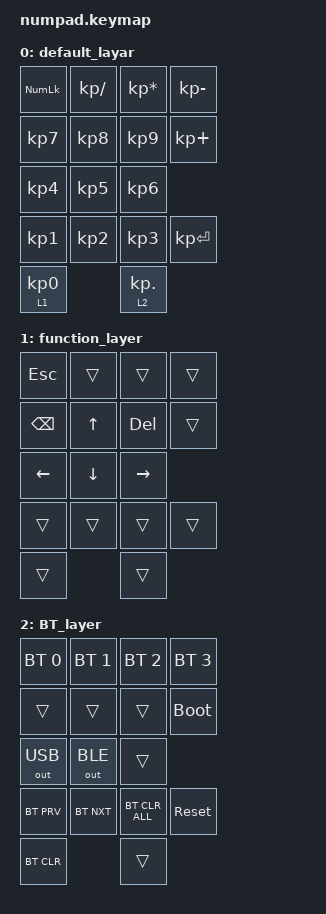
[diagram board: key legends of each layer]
#include <behaviors.dtsi>
#include <dt-bindings/zmk/keys.h>
#include <dt-bindings/zmk/bt.h>
#include <dt-bindings/zmk/outputs.h>

&lt {
  quick-tap-ms = <1000>;
};

        // ┌───┬───┬───┬───┐
        // │NUM│ / │ * │ - │
        // ├───┼───┼───┼───┤
        // │ 7 │ 8 │ 9 │ + │
        // ├───┼───┼───┤   │
        // │ 4 │ 5 │ 6 │   │
        // ├───┼───┼───┼───┤
        // │ 1 │ 2 │ 3 │ENT│
        // ├───┴───┼───┤   │
        // │ 0     │ . │   │
        // └───────┴───┴───┘
        
        // ┌───┬───┬───┬───┐
        // │Esc│   │   │   │
        // ├───┼───┼───┼───┤
        // │BS │ ↑ │Del│   │
        // ├───┼───┼───┤   │
        // │ ← │ ↓ │ → │   │
        // ├───┼───┼───┼───┤
        // │   │   │   │Tab│
        // ├───┴───┼───┤   │
        // │       │   │   │
        // └───────┴───┴───┘

/ {
    keymap {
        compatible = "zmk,keymap";
        default_layar {
            bindings = <
                &kp KP_NUM      &kp KP_DIVIDE   &kp KP_MULTIPLY &kp KP_MINUS
                &kp KP_N7       &kp KP_N8       &kp KP_N9       &kp KP_PLUS
                &kp KP_N4       &kp KP_N5       &kp KP_N6
                &kp KP_N1       &kp KP_N2       &kp KP_N3       &kp KP_ENTER
                &lt 1 KP_N0                     &lt 2 KP_DOT
            >;
        };
        
        function_layer {
            bindings = <
                &kp ESC         &trans          &trans          &trans
                &kp BACKSPACE   &kp UP          &kp DELETE      &trans
                &kp LEFT        &kp DOWN        &kp RIGHT
                &trans          &trans          &trans          &trans
                &trans                          &trans
            >; 
        };

        BT_layer {
            bindings = <
                 &bt BT_SEL 0   &bt BT_SEL 1    &bt BT_SEL 2    &bt BT_SEL 3  
                &trans          &trans          &trans          &bootloader
                &out OUT_USB    &out OUT_BLE    &trans
                &bt BT_PRV      &bt BT_NXT      &bt BT_CLR_ALL  &sys_reset
                &bt BT_CLR                      &trans
            >;
        };
    };
};
